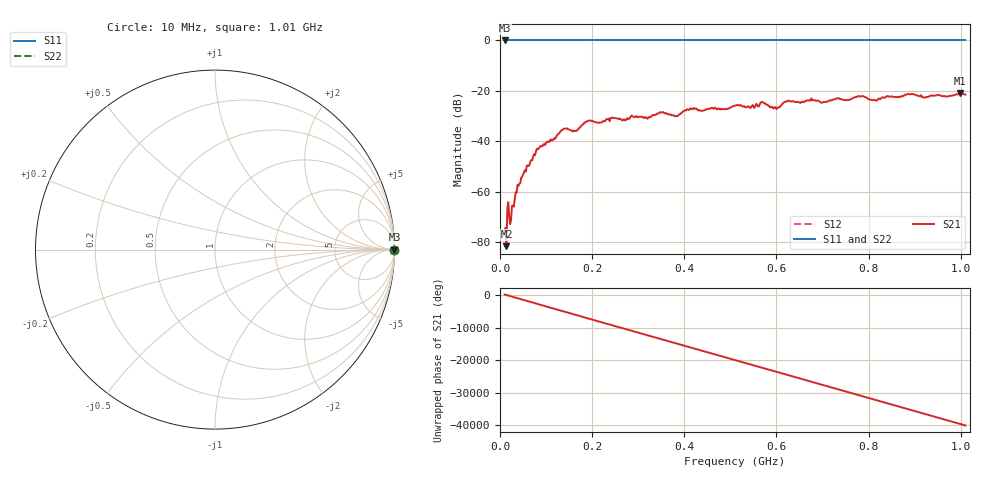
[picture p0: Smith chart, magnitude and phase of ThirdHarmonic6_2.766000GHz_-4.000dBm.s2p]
! 8/17/2025 7:00:24 AM
! C:\ANRITSUVNA\TEMP\TEMP.S2P
! CHANNEL.1
! TR.MEASUREMENT
! RAW.DATA
! RF.CORRECTION.OFF
! AVERAGING.OFF
! IF.BANDWIDTH: 5KHZ
! SWEEPTYPE:  FREQ.SWEEP(Linear)
! Reference Plane Port Info
! PORT:  PORT1  PORT2
! DISTANCE:  0  m  0  m
! TIME:  0  s  0  s
! PHASE.OFFSET:  0  deg.  0  deg.
! LOSS:  0  dB  0  dB
! REF.LOSS:  0  dB  0  dB
! REF.FREQ:  0  Hz  0  Hz
! Power Info
! POWER:  -20  dBm  -20  dBm
! EFF.POWER:  -20  dBm  -20  dBm
! SOURCE.ATTEN:  0  dB  0  dB
! TEST.ATTEN:  0  dB  0  dB
# GHZ S RI R 50.0
! FREQ.GHZ  S11RE  S11IM  S21RE  S21IM  S12RE  S12IM  S22RE  S22IM
!; PortSelection: Port_12
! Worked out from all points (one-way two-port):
!   501 points, 10 MHz to 1.01 GHz, reference 50 ohm
!   highest |S21| = -20.83 dB at 998 MHz (marker M1); lowest = -81.7 dB at 14 MHz (marker M2)
!   lowest |S11| = 0.0 dB at 10 MHz (marker M3)
!   |S11| at or under -10 dB: nowhere
!   |S22| runs from 0.0 to 0.0 dB; largest |S21 - S12| = 1.1
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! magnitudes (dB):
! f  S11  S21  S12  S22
! 10 MHz  0.0  -77.3  0.0  0.0
! 14 MHz  0.0  -81.7  0.0  0.0
! 20 MHz  0.0  -70.0  0.0  0.0
! 26 MHz  0.0  -65.7  0.0  0.0
! 38 MHz  0.0  -57.3  0.0  0.0
! 50 MHz  0.0  -53.2  0.0  0.0
! 82 MHz  0.0  -43.2  0.0  0.0
! 136 MHz  0.0  -35.5  0.0  0.0
! 162 MHz  0.0  -36.0  0.0  0.0
! 178 MHz  0.0  -33.6  0.0  0.0
! 192 MHz  0.0  -31.8  0.0  0.0
! 344 MHz  0.0  -29.0  0.0  0.0
! 382 MHz  0.0  -30.0  0.0  0.0
! 416 MHz  0.0  -27.2  0.0  0.0
! 510 MHz  0.0  -25.9  0.0  0.0
! 570 MHz  0.0  -24.5  0.0  0.0
! 598 MHz  0.0  -26.6  0.0  0.0
! 622 MHz  0.0  -24.3  0.0  0.0
! 678 MHz  0.0  -23.7  0.0  0.0
! 844 MHz  0.0  -22.3  0.0  0.0
! 998 MHz  0.0  -20.8  0.0  0.0
! 1.01 GHz  0.0  -21.5  0.0  0.0
